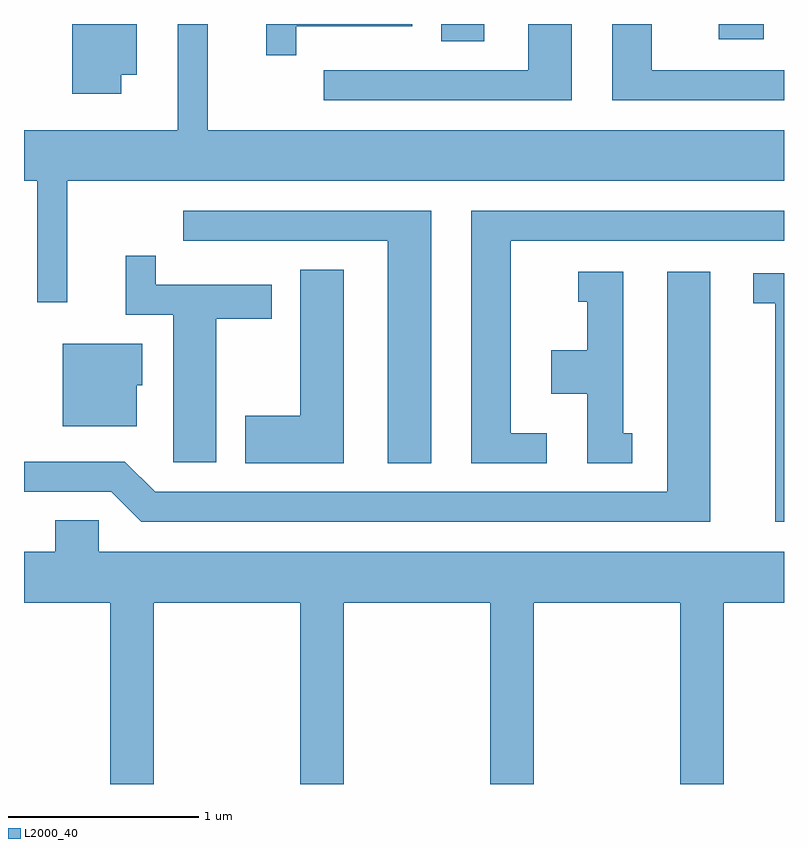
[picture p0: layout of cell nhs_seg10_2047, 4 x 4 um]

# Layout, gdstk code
import gdstk
lib = gdstk.Library(unit=1e-6, precision=1e-09)
def R(c, l, rs):  # rectangles x0, y0, x1, y1
    for r in rs: c.add(gdstk.rectangle(r[:2], r[2:], *l))
def P(c, l, *ps):  # polygons
    for p in ps: c.add(gdstk.Polygon(p, *l))
L2000_40 = (2000, 40)

nhs_seg10_2047 = lib.new_cell('nhs_seg10_2047')
R(nhs_seg10_2047, L2000_40, [(247.806,2112.431,248.034,2112.522), (249.268,2112.441,249.504,2112.522)])
P(nhs_seg10_2047, L2000_40, [(245.839,2111.696),(249.611,2111.696),(249.611,2111.964),(246.579,2111.964),(246.579,2112.522),(246.421,2112.522),(246.421,2111.964),(245.611,2111.964),(245.611,2111.696),(245.681,2111.696),(245.681,2111.058),(245.839,2111.058)],
  [(246.124,2112.256),(246.204,2112.256),(246.204,2112.522),(245.866,2112.522),(245.866,2112.156),(246.124,2112.156)],
  [(248.494,2112.522),(248.266,2112.522),(248.266,2112.279),(247.188,2112.279),(247.188,2112.121),(248.494,2112.121)],
  [(249.611,2112.279),(248.914,2112.279),(248.914,2112.522),(248.706,2112.522),(248.706,2112.121),(249.611,2112.121)],
  [(247.044,2112.511),(247.654,2112.511),(247.654,2112.522),(246.886,2112.522),(246.886,2112.358),(247.044,2112.358)],
  [(247.754,2111.539),(246.448,2111.539),(246.448,2111.381),(247.526,2111.381),(247.526,2110.211),(247.754,2110.211)],
  [(248.363,2110.369),(248.174,2110.369),(248.174,2111.381),(249.611,2111.381),(249.611,2111.539),(247.966,2111.539),(247.966,2110.211),(248.363,2110.211)],
  [(246.624,2110.971),(246.914,2110.971),(246.914,2111.149),(246.304,2111.149),(246.304,2111.303),(246.146,2111.303),(246.146,2110.991),(246.396,2110.991),(246.396,2110.216),(246.624,2110.216)],
  [(247.294,2111.229),(247.066,2111.229),(247.066,2110.459),(246.776,2110.459),(246.776,2110.211),(247.294,2110.211)],
  [(249.224,2111.219),(248.996,2111.219),(248.996,2110.059),(246.302,2110.059),(246.142,2110.219),(245.611,2110.219),(245.611,2110.061),(246.069,2110.061),(246.229,2109.901),(249.224,2109.901)],
  [(248.813,2110.369),(248.764,2110.369),(248.764,2111.219),(248.528,2111.219),(248.528,2111.061),(248.576,2111.061),(248.576,2110.804),(248.386,2110.804),(248.386,2110.576),(248.576,2110.576),(248.576,2110.211),(248.813,2110.211)],
  [(249.611,2111.209),(249.448,2111.209),(249.448,2111.051),(249.566,2111.051),(249.566,2109.901),(249.611,2109.901)],
  [(246.204,2110.621),(246.234,2110.621),(246.234,2110.839),(245.816,2110.839),(245.816,2110.406),(246.204,2110.406)],
  [(246.294,2109.476),(247.066,2109.476),(247.066,2108.522),(247.294,2108.522),(247.294,2109.476),(248.066,2109.476),(248.066,2108.522),(248.294,2108.522),(248.294,2109.476),(249.066,2109.476),(249.066,2108.522),(249.294,2108.522),(249.294,2109.476),(249.611,2109.476),(249.611,2109.744),(246.004,2109.744),(246.004,2109.909),(245.776,2109.909),(245.776,2109.744),(245.611,2109.744),(245.611,2109.476),(246.066,2109.476),(246.066,2108.522),(246.294,2108.522)])

lib.write_gds('nhs_seg10_2047.gds')
